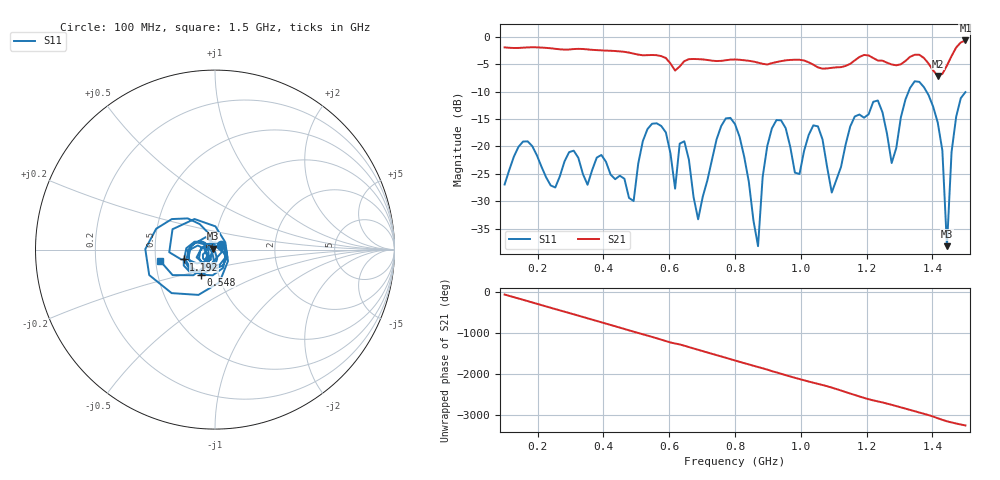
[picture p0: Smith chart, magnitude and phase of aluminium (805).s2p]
! NanoVNA-App
! Date: 2025-09-25 15:01:33
! Start: 100MHz Stop: 1,5GHz Points: 101
! S-Parameter data: F S11 S21 S12 S22
# Hz S RI R 50
!  Frequency  S11_Real  S11_Imag  S21_Real  S21_Imag  S12_Real  S12_Imag  S22_Real  S22_Imag
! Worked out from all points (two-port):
!   101 points, 100 MHz to 1.5 GHz, reference 50 ohm
!   highest |S21| = -0.65 dB at 1.5 GHz (marker M1); lowest = -7.1 dB at 1.416 GHz (marker M2)
!   |S21| within 3 dB of the highest: start of sweep to 581.6 MHz; 1.457 GHz to end of sweep (the widest 2 of 4)
!   lowest |S11| = -38.2 dB at 1.444 GHz (marker M3), VSWR 1.02, Z = 48.9 + j0.505 ohm
!   |S11| at or under -10 dB: start of sweep to 1.327 GHz; 1.382 GHz to end of sweep
!   S12 and S22 are empty: the file has one direction only
!   S11 on the Smith chart (normalised r, x): 100 MHz: 1.07, +0.06; 548 MHz: 0.82, -0.23; 1.192 GHz: 0.70, -0.08; 1.5 GHz: 0.53, -0.07
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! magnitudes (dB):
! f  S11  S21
! 100 MHz  -27.0  -1.9
! 156 MHz  -19.1  -2.0
! 338 MHz  -25.1  -2.2
! 492 MHz  -30.0  -3.1
! 548 MHz  -15.9  -3.3
! 576 MHz  -16.3  -3.5
! 618 MHz  -27.7  -6.1
! 646 MHz  -19.1  -4.4
! 688 MHz  -33.3  -4.1
! 800 MHz  -15.9  -4.1
! 870 MHz  -38.2  -4.7
! 912 MHz  -16.7  -4.8
! 996 MHz  -25.0  -4.2
! 1.038 GHz  -16.2  -5.1
! 1.094 GHz  -28.4  -5.7
! 1.192 GHz  -14.8  -3.3
! 1.276 GHz  -23.0  -5.0
! 1.346 GHz  -8.1  -3.3
! 1.416 GHz  -15.7  -7.1
! 1.444 GHz  -38.2  -5.2
! 1.458 GHz  -21.0  -3.5
! 1.5 GHz  -10.1  -0.7
